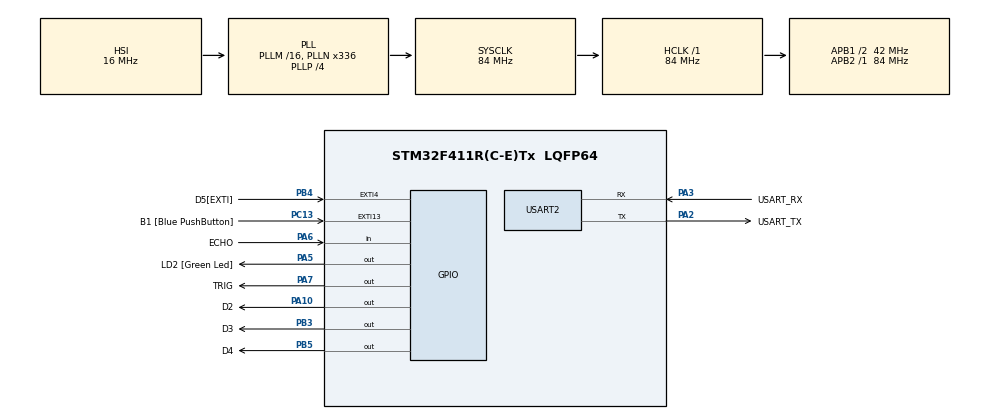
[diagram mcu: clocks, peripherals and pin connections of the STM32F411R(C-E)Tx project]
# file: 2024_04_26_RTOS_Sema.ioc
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FREERTOS.BinarySemaphores01=myBinarySem01,Dynamic,NULL
FREERTOS.Tasks01=myTask01,0,128,StartTask01,Default,NULL,Dynamic,NULL,NULL;myTask02,-1,128,StartTask02,Default,NULL,Dynamic,NULL,NULL;myTask03,-2,128,StartTask03,Default,NULL,Dynamic,NULL,NULL
FREERTOS.configUSE_NEWLIB_REENTRANT=1
Mcu.Family=STM32F4
Mcu.Name=STM32F411R(C-E)Tx
Mcu.Package=LQFP64
NVIC.EXTI4_IRQn=true\:5\:0\:false\:false\:true\:true\:true\:true\:true
NVIC.PriorityGroup=NVIC_PRIORITYGROUP_4
NVIC.TIM1_BRK_TIM9_IRQn=true\:15\:0\:false\:false\:true\:false\:false\:true\:true
NVIC.TimeBase=TIM1_BRK_TIM9_IRQn
NVIC.TimeBaseIP=TIM9
PA10.GPIO_Label=D2
PA10.Signal=GPIO_Output
PA13.GPIO_Label=TMS
PA13.Mode=Serial_Wire
PA13.Signal=SYS_JTMS-SWDIO
PA14.GPIO_Label=TCK
PA14.Mode=Serial_Wire
PA14.Signal=SYS_JTCK-SWCLK
PA2.GPIO_Label=USART_TX
PA2.Mode=Asynchronous
PA2.Signal=USART2_TX
PA3.GPIO_Label=USART_RX
PA3.Mode=Asynchronous
PA3.Signal=USART2_RX
PA5.GPIO_Label=LD2 [Green Led]
PA5.Signal=GPIO_Output
PA6.GPIO_Label=ECHO
PA6.Signal=GPIO_Input
PA7.GPIO_Label=TRIG
PA7.Signal=GPIO_Output
PB3.GPIO_Label=D3
PB3.Signal=GPIO_Output
PB4.GPIO_Label=D5[EXTI]
PB4.Signal=GPXTI4
PB5.GPIO_Label=D4
PB5.Signal=GPIO_Output
PC13-ANTI_TAMP.GPIO_Label=B1 [Blue PushButton]
PC13-ANTI_TAMP.GPIO_ModeDefaultEXTI=GPIO_MODE_IT_FALLING
PC13-ANTI_TAMP.Signal=GPXTI13
PC14-OSC32_IN.Mode=LSE-External-Oscillator
PC14-OSC32_IN.Signal=RCC_OSC32_IN
PC15-OSC32_OUT.Mode=LSE-External-Oscillator
PC15-OSC32_OUT.Signal=RCC_OSC32_OUT
PH0\ -\ OSC_IN.Mode=HSE-External-Clock-Source
PH0\ -\ OSC_IN.Signal=RCC_OSC_IN
PH1\ -\ OSC_OUT.Mode=HSE-External-Clock-Source
PH1\ -\ OSC_OUT.Signal=RCC_OSC_OUT
ProjectManager.HeapSize=0x200
ProjectManager.StackSize=0x400
ProjectManager.TargetToolchain=STM32CubeIDE
RCC.48MHZClocksFreq_Value=84000000
RCC.AHBFreq_Value=84000000
RCC.APB1CLKDivider=RCC_HCLK_DIV2
RCC.APB1Freq_Value=42000000
RCC.APB1TimFreq_Value=84000000
RCC.APB2Freq_Value=84000000
RCC.APB2TimFreq_Value=84000000
RCC.CortexFreq_Value=84000000
RCC.FLatency-AdvancedSettings=FLASH_LATENCY_2
RCC.HCLKFreq_Value=84000000
RCC.HSE_VALUE=8000000
RCC.HSI_VALUE=16000000
RCC.PLLN=336
RCC.PLLP=RCC_PLLP_DIV4
RCC.SYSCLKFreq_VALUE=84000000
RCC.SYSCLKSource=RCC_SYSCLKSOURCE_PLLCLK
RCC.VCOOutputFreq_Value=336000000
TIM2.Prescaler=84-1
USART2.VirtualMode=VM_ASYNC
VP_FREERTOS_VS_CMSIS_V1.Mode=CMSIS_V1
VP_SYS_VS_tim9.Mode=TIM9
VP_TIM2_VS_ClockSourceINT.Mode=Internal
board=NUCLEO-F411RE

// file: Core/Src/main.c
/* USER CODE BEGIN Header */
/**
  ******************************************************************************
  * @file           : main.c
  * @brief          : Main program body
  ******************************************************************************
  * @attention
  *
  * Copyright (c) 2024 STMicroelectronics.
  * All rights reserved.
  *
  * This software is licensed under terms that can be found in the LICENSE file
  * in the root directory of this software component.
  * If no LICENSE file comes with this software, it is provided AS-IS.
  *
  ******************************************************************************
  */
/* USER CODE END Header */
#include "main.h"
#include "cmsis_os.h"

/* USER CODE BEGIN Includes */
#include "D:\PJH\Github_clone\Haman3rd_PJH\ARM Architecture\Common\myLib.h"
/* USER CODE END Includes */

TIM_HandleTypeDef htim2;

UART_HandleTypeDef huart2;

osThreadId myTask01Handle;
osThreadId myTask02Handle;
osThreadId myTask03Handle;
osSemaphoreId myBinarySem01Handle;

void SystemClock_Config(void);
static void MX_GPIO_Init(void);
static void MX_USART2_UART_Init(void);
static void MX_TIM2_Init(void);
void StartTask01(void const * argument);
void StartTask02(void const * argument);
void StartTask03(void const * argument);

/* USER CODE BEGIN 0 */
void usDelay(int us) // micro-second based Delay
{
   volatile uint32_t t1 = htim2.Instance->CNT;
   while((htim2.Instance->CNT -t1) < us);
}

double usDist(int n)
{
   int dt_sum = 0;
   for (int i = 0; i< n; i++)
   {
      HAL_GPIO_WritePin(TRIG_GPIO_Port, TRIG_Pin, 0);
      usDelay(10);
      HAL_GPIO_WritePin(TRIG_GPIO_Port, TRIG_Pin, 1);
      usDelay(10);
      HAL_GPIO_WritePin(TRIG_GPIO_Port, TRIG_Pin, 0);
      //   Wait for burst
      usDelay(200);
      //   Wait for Echo Low

      //   Start count
      while(HAL_GPIO_ReadPin(ECHO_GPIO_Port, ECHO_Pin) != 1);
      volatile uint32_t t1 = htim2.Instance->CNT;
      while(HAL_GPIO_ReadPin(ECHO_GPIO_Port, ECHO_Pin) != 0);
      volatile uint32_t t2 = htim2.Instance->CNT;

      int dt = t2 - t1;   //   micro-second sonic speed
      dt_sum += dt;
      usDelay(60000);   //   minimum delay for next time

   }
   double dt_avg = dt_sum / 5;
   double Dist = 0.0001715 * dt_avg;

   return Dist;
}

int IsHold = 1;
void HAL_GPIO_EXTI_Callback(uint16_t GPIO_PIN)
{
  if(GPIO_PIN == D5_Pin)
  {
    IsHold = !IsHold;
    // == [ IsHold = (IsHold) ? 0 : 1; ]
    // == [ if(IsHold == 1) IsHold = 0; else IsHold = 1; ]
    if(IsHold)  osSemaphoreRelease(myBinarySem01Handle);
  }
}
/* USER CODE END 0 */

int main(void)
{

  /* MCU Configuration--------------------------------------------------------*/

  /* Reset of all peripherals, Initializes the Flash interface and the Systick. */
  HAL_Init();

  /* Configure the system clock */
  SystemClock_Config();

  /* Initialize all configured peripherals */
  MX_GPIO_Init();
  MX_USART2_UART_Init();
  MX_TIM2_Init();

  /* Create the semaphores(s) */
  /* definition and creation of myBinarySem01 */
  osSemaphoreDef(myBinarySem01);
  myBinarySem01Handle = osSemaphoreCreate(osSemaphore(myBinarySem01), 1);

  /* Create the thread(s) */
  /* definition and creation of myTask01 */
  osThreadDef(myTask01, StartTask01, osPriorityNormal, 0, 128);
  myTask01Handle = osThreadCreate(osThread(myTask01), NULL);

  /* definition and creation of myTask02 */
  osThreadDef(myTask02, StartTask02, osPriorityBelowNormal, 0, 128);
  myTask02Handle = osThreadCreate(osThread(myTask02), NULL);

  /* definition and creation of myTask03 */
  osThreadDef(myTask03, StartTask03, osPriorityLow, 0, 128);
  myTask03Handle = osThreadCreate(osThread(myTask03), NULL);

  /* USER CODE BEGIN RTOS_THREADS */
  /* add threads, ... */
  ProgramStart();
  /* USER CODE END RTOS_THREADS */

  /* Start scheduler */
  HAL_TIM_Base_Start(&htim2);
  osKernelStart();

  /* We should never get here as control is now taken by the scheduler */

  /* Infinite loop */
  while (1)
  {

  }
}

void SystemClock_Config(void)
{
  RCC_OscInitTypeDef RCC_OscInitStruct = {0};
  RCC_ClkInitTypeDef RCC_ClkInitStruct = {0};

  /** Configure the main internal regulator output voltage
  */
  __HAL_RCC_PWR_CLK_ENABLE();
  __HAL_PWR_VOLTAGESCALING_CONFIG(PWR_REGULATOR_VOLTAGE_SCALE1);

  /** Initializes the RCC Oscillators according to the specified parameters
  * in the RCC_OscInitTypeDef structure.
  */
  RCC_OscInitStruct.OscillatorType = RCC_OSCILLATORTYPE_HSI;
  RCC_OscInitStruct.HSIState = RCC_HSI_ON;
  RCC_OscInitStruct.HSICalibrationValue = RCC_HSICALIBRATION_DEFAULT;
  RCC_OscInitStruct.PLL.PLLState = RCC_PLL_ON;
  RCC_OscInitStruct.PLL.PLLSource = RCC_PLLSOURCE_HSI;
  RCC_OscInitStruct.PLL.PLLM = 16;
  RCC_OscInitStruct.PLL.PLLN = 336;
  RCC_OscInitStruct.PLL.PLLP = RCC_PLLP_DIV4;
  RCC_OscInitStruct.PLL.PLLQ = 4;
  if (HAL_RCC_OscConfig(&RCC_OscInitStruct) != HAL_OK)
  {
    Error_Handler();
  }

  /** Initializes the CPU, AHB and APB buses clocks
  */
  RCC_ClkInitStruct.ClockType = RCC_CLOCKTYPE_HCLK|RCC_CLOCKTYPE_SYSCLK
                              |RCC_CLOCKTYPE_PCLK1|RCC_CLOCKTYPE_PCLK2;
  RCC_ClkInitStruct.SYSCLKSource = RCC_SYSCLKSOURCE_PLLCLK;
  RCC_ClkInitStruct.AHBCLKDivider = RCC_SYSCLK_DIV1;
  RCC_ClkInitStruct.APB1CLKDivider = RCC_HCLK_DIV2;
  RCC_ClkInitStruct.APB2CLKDivider = RCC_HCLK_DIV1;

  if (HAL_RCC_ClockConfig(&RCC_ClkInitStruct, FLASH_LATENCY_2) != HAL_OK)
  {
    Error_Handler();
  }
}

static void MX_TIM2_Init(void)
{

  TIM_ClockConfigTypeDef sClockSourceConfig = {0};
  TIM_MasterConfigTypeDef sMasterConfig = {0};

  htim2.Instance = TIM2;
  htim2.Init.Prescaler = 84-1;
  htim2.Init.CounterMode = TIM_COUNTERMODE_UP;
  htim2.Init.Period = 4294967295;
  htim2.Init.ClockDivision = TIM_CLOCKDIVISION_DIV1;
  htim2.Init.AutoReloadPreload = TIM_AUTORELOAD_PRELOAD_DISABLE;
  if (HAL_TIM_Base_Init(&htim2) != HAL_OK)
  {
    Error_Handler();
  }
  sClockSourceConfig.ClockSource = TIM_CLOCKSOURCE_INTERNAL;
  if (HAL_TIM_ConfigClockSource(&htim2, &sClockSourceConfig) != HAL_OK)
  {
    Error_Handler();
  }
  sMasterConfig.MasterOutputTrigger = TIM_TRGO_RESET;
  sMasterConfig.MasterSlaveMode = TIM_MASTERSLAVEMODE_DISABLE;
  if (HAL_TIMEx_MasterConfigSynchronization(&htim2, &sMasterConfig) != HAL_OK)
  {
    Error_Handler();
  }

}

static void MX_USART2_UART_Init(void)
{

  huart2.Instance = USART2;
  huart2.Init.BaudRate = 115200;
  huart2.Init.WordLength = UART_WORDLENGTH_8B;
  huart2.Init.StopBits = UART_STOPBITS_1;
  huart2.Init.Parity = UART_PARITY_NONE;
  huart2.Init.Mode = UART_MODE_TX_RX;
  huart2.Init.HwFlowCtl = UART_HWCONTROL_NONE;
  huart2.Init.OverSampling = UART_OVERSAMPLING_16;
  if (HAL_UART_Init(&huart2) != HAL_OK)
  {
    Error_Handler();
  }

}

static void MX_GPIO_Init(void)
{
  GPIO_InitTypeDef GPIO_InitStruct = {0};

  /* GPIO Ports Clock Enable */
  __HAL_RCC_GPIOC_CLK_ENABLE();
  __HAL_RCC_GPIOH_CLK_ENABLE();
  __HAL_RCC_GPIOA_CLK_ENABLE();
  __HAL_RCC_GPIOB_CLK_ENABLE();

  /*Configure GPIO pin Output Level */
  HAL_GPIO_WritePin(GPIOA, LD2_Pin|TRIG_Pin|D2_Pin, GPIO_PIN_RESET);

  /*Configure GPIO pin Output Level */
  HAL_GPIO_WritePin(GPIOB, D3_Pin|D4_Pin, GPIO_PIN_RESET);

  /*Configure GPIO pin : B1_Pin */
  GPIO_InitStruct.Pin = B1_Pin;
  GPIO_InitStruct.Mode = GPIO_MODE_IT_FALLING;
  GPIO_InitStruct.Pull = GPIO_NOPULL;
  HAL_GPIO_Init(B1_GPIO_Port, &GPIO_InitStruct);

  /*Configure GPIO pins : LD2_Pin TRIG_Pin D2_Pin */
  GPIO_InitStruct.Pin = LD2_Pin|TRIG_Pin|D2_Pin;
  GPIO_InitStruct.Mode = GPIO_MODE_OUTPUT_PP;
  GPIO_InitStruct.Pull = GPIO_NOPULL;
  GPIO_InitStruct.Speed = GPIO_SPEED_FREQ_LOW;
  HAL_GPIO_Init(GPIOA, &GPIO_InitStruct);

  /*Configure GPIO pin : ECHO_Pin */
  GPIO_InitStruct.Pin = ECHO_Pin;
  GPIO_InitStruct.Mode = GPIO_MODE_INPUT;
  GPIO_InitStruct.Pull = GPIO_NOPULL;
  HAL_GPIO_Init(ECHO_GPIO_Port, &GPIO_InitStruct);

  /*Configure GPIO pins : D3_Pin D4_Pin */
  GPIO_InitStruct.Pin = D3_Pin|D4_Pin;
  GPIO_InitStruct.Mode = GPIO_MODE_OUTPUT_PP;
  GPIO_InitStruct.Pull = GPIO_NOPULL;
  GPIO_InitStruct.Speed = GPIO_SPEED_FREQ_LOW;
  HAL_GPIO_Init(GPIOB, &GPIO_InitStruct);

  /*Configure GPIO pin : D5_Pin */
  GPIO_InitStruct.Pin = D5_Pin;
  GPIO_InitStruct.Mode = GPIO_MODE_IT_RISING;
  GPIO_InitStruct.Pull = GPIO_NOPULL;
  HAL_GPIO_Init(D5_GPIO_Port, &GPIO_InitStruct);

  /* EXTI interrupt init*/
  HAL_NVIC_SetPriority(EXTI4_IRQn, 5, 0);
  HAL_NVIC_EnableIRQ(EXTI4_IRQn);

}

void StartTask01(void const * argument)
{
  /* USER CODE BEGIN 5 */
  /* Infinite loop */
  int tn1 = 0;
  for(;;)
  {
    if(osSemaphoreWait(myBinarySem01Handle, 0) == osOK)
    {
      double Dist = usDist(5);
      int mt = Dist;
      int cm = (Dist - mt)*100;
      if(cm < 30)
      {
      if(mt) printf("Distance : %dm %dcm\r\n", mt, cm);
      else printf("Distance : %dcm\r\n", cm);
      HAL_GPIO_TogglePin(D2_GPIO_Port, D2_Pin);
      }

      else if(cm < 50 && cm >= 30)
      {
      if(mt) printf("Distance : %dm %dcm\r\n", mt, cm);
      else printf("Distance : %dcm\r\n", cm);
      HAL_GPIO_TogglePin(D3_GPIO_Port, D3_Pin);
      }

      else if(cm > 50)
      {
      if(mt) printf("Distance : %dm %dcm\r\n", mt, cm);
      else printf("Distance : %dcm\r\n", cm);
      HAL_GPIO_TogglePin(D4_GPIO_Port, D4_Pin);
      }
      HAL_Delay(200);
      printf("Task01 process --- %d\r\n", tn1++);
      if(IsHold)  osSemaphoreRelease(myBinarySem01Handle);
    }
    osDelay(1);
  }
  /* USER CODE END 5 */
}

void StartTask02(void const * argument)
{
  /* USER CODE BEGIN StartTask02 */
  /* Infinite loop */
  int tn2 = 0;
  for(;;)
  {
    if(osSemaphoreWait(myBinarySem01Handle, 0) == osOK)
    {
      double Dist = usDist(5);
      int mt = Dist;
      int cm = (Dist - mt)*100;
      if(cm < 30)
      {
      if(mt) printf("Distance : %dm %dcm\r\n", mt, cm);
      else printf("Distance : %dcm\r\n", cm);
      HAL_GPIO_TogglePin(D2_GPIO_Port, D2_Pin);
      }

      else if(cm < 50 && cm >= 30)
      {
      if(mt) printf("Distance : %dm %dcm\r\n", mt, cm);
      else printf("Distance : %dcm\r\n", cm);
      HAL_GPIO_TogglePin(D3_GPIO_Port, D3_Pin);
      }

      else if(cm > 50)
      {
      if(mt) printf("Distance : %dm %dcm\r\n", mt, cm);
      else printf("Distance : %dcm\r\n", cm);
      HAL_GPIO_TogglePin(D4_GPIO_Port, D4_Pin);
      }
      HAL_Delay(200);
      printf("Task02 process --- %d\r\n", tn2++);
      if(IsHold)  osSemaphoreRelease(myBinarySem01Handle);
    }
    osDelay(1);
  }
  /* USER CODE END StartTask02 */
}

void StartTask03(void const * argument)
{
  /* USER CODE BEGIN StartTask03 */
  /* Infinite loop */
  int tn3 = 0;
  for(;;)
  {
    if(osSemaphoreWait(myBinarySem01Handle, 0) == osOK)
    {
      double Dist = usDist(5);
      int mt = Dist;
      int cm = (Dist - mt)*100;
      if(cm < 30)
      {
      if(mt) printf("Distance : %dm %dcm\r\n", mt, cm);
      else printf("Distance : %dcm\r\n", cm);
      HAL_GPIO_TogglePin(D2_GPIO_Port, D2_Pin);
      }

      else if(cm < 50 && cm >= 30)
      {
      if(mt) printf("Distance : %dm %dcm\r\n", mt, cm);
      else printf("Distance : %dcm\r\n", cm);
      HAL_GPIO_TogglePin(D3_GPIO_Port, D3_Pin);
      }

      else if(cm > 50)
      {
      if(mt) printf("Distance : %dm %dcm\r\n", mt, cm);
      else printf("Distance : %dcm\r\n", cm);
      HAL_GPIO_TogglePin(D4_GPIO_Port, D4_Pin);
      }
      HAL_Delay(200);
      printf("Task03 process --- %d\r\n", tn3++);
      if(IsHold)  osSemaphoreRelease(myBinarySem01Handle);
    }
    osDelay(1);
  }
  /* USER CODE END StartTask03 */
}

void HAL_TIM_PeriodElapsedCallback(TIM_HandleTypeDef *htim)
{
  if (htim->Instance == TIM9) {
    HAL_IncTick();
  }
}

void Error_Handler(void)
{
  __disable_irq();
  while (1)
  {
  }
}
